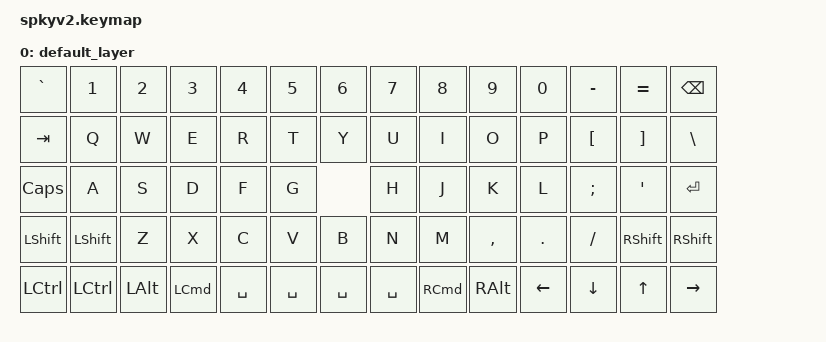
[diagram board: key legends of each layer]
#include <behaviors.dtsi>
#include <dt-bindings/zmk/keys.h>


/ {

/*
+---+---+---+---+---+---+---+        +---+---+---+---+---+---+-----+
| ` | 1 | 2 | 3 | 4 | 5 | 6 |        | 7 | 8 | 9 | 0 | - | = |bksp |
+---+-+-+-+-+-+-+-+-+-+-+-+-+      +-+-+-+-+-+-+-+-+-+-+-+-+-+-+---+
| tab | q | w | e | r | t |        | y | u | i | o | p | [ | ] | \ |
+-----++--++--++--++--++--++       ++--++--+++-++--++--+---+---+---+
| caps | a | s | d | f | g |        | h | j || k| l | ;| ' | enter |
+---+--++--++--++--++--++--++       +-+-+-+-++--++--++-+-+-+---+---+
|sft|sft| z | x | c | v | b |         | n | m| , | . | / |shift|sft|
+---+---+---+---+---+-+-+---++       ++---+--+--++-+-+-+-+-+---+---+---+
|fn |ctl|opt|cmd| spc | spc  |       | spc| spc |md|opt| l | d | u | r |
+---+---+---+---+-----+------+       +----+-----+--+---+---+---+---+---+
*/


        keymap {
                compatible = "zmk,keymap";

                default_layer {
                        bindings = <
// left hand                                                                                right hand
&kp GRAVE   &kp N1      &kp N2      &kp N3      &kp N4      &kp N5      &kp N6              &kp N7      &kp N8      &kp N9      &kp N0                  &kp MINUS   &kp EQUAL   &kp BKSP
&kp TAB     &kp Q       &kp W       &kp E       &kp R       &kp T                           &kp Y       &kp U       &kp I       &kp O       &kp P       &kp LBKT    &kp RBKT    &kp BSLH
&kp CAPS    &kp A       &kp S       &kp D       &kp F       &kp G                           &kp H       &kp J       &kp K       &kp L       &kp SEMI    &kp SQT     &kp ENTER
&kp LSHIFT  &kp LSHIFT  &kp Z       &kp X       &kp C       &kp V       &kp B               &kp N       &kp M       &kp COMMA   &kp DOT     &kp FSLH    &kp RSHIFT  &kp RSHIFT
&kp LCTRL   &kp LCTRL   &kp LALT    &kp LCMD    &kp SPACE   &kp SPACE                       &kp SPACE   &kp SPACE   &kp RCMD    &kp RALT                &kp LEFT    &kp DOWN    &kp UP  &kp RIGHT
                        >;
                };

        };
};
